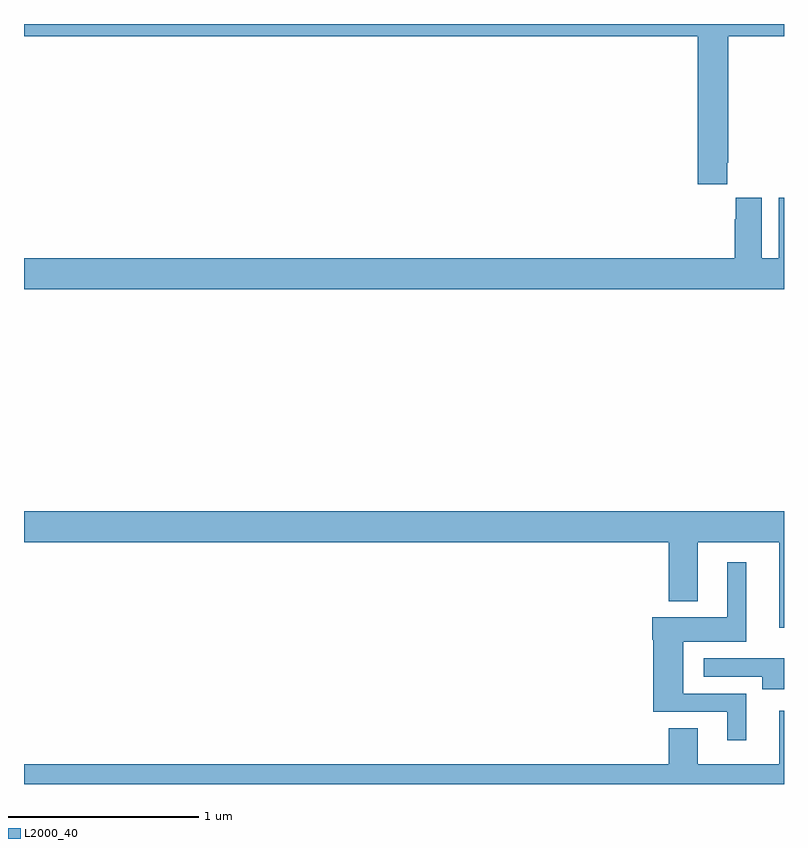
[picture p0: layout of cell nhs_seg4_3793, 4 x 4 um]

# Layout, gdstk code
import gdstk
lib = gdstk.Library(unit=1e-6, precision=1e-09)
def P(c, l, *ps):  # polygons
    for p in ps: c.add(gdstk.Polygon(p, *l))
L2000_40 = (2000, 40)

nhs_seg4_3793 = lib.new_cell('nhs_seg4_3793')
P(nhs_seg4_3793, L2000_40, [(314.701,780.169),(314.706,780.169),(314.706,780.836),(315,780.836),(315,780.9),(311,780.9),(311,780.836),(314.546,780.836),(314.546,780.057),(314.701,780.057)],
  [(315,779.986),(314.972,779.986),(314.972,779.668),(314.884,779.668),(314.884,779.986),(314.747,779.986),(314.747,779.873),(314.741,779.873),(314.741,779.668),(311,779.668),(311,779.504),(315,779.504)],
  [(315,778.336),(311,778.336),(311,778.172),(314.393,778.172),(314.393,777.863),(314.545,777.863),(314.545,778.172),(314.975,778.172),(314.975,777.723),(315,777.723)],
  [(314.8,777.375),(314.47,777.375),(314.47,777.65),(314.8,777.65),(314.8,778.066),(314.702,778.066),(314.702,777.778),(314.306,777.778),(314.306,777.66),(314.312,777.66),(314.312,777.279),(314.702,777.279),(314.702,777.129),(314.8,777.129)],
  [(315,777.562),(314.889,777.562),(314.889,777.561),(314.577,777.561),(314.577,777.465),(314.885,777.465),(314.885,777.398),(315,777.398)],
  [(315,777.286),(314.975,777.286),(314.975,777.004),(314.545,777.004),(314.545,777.194),(314.393,777.194),(314.393,777.004),(311,777.004),(311,776.9),(315,776.9)])

lib.write_gds('nhs_seg4_3793.gds')
